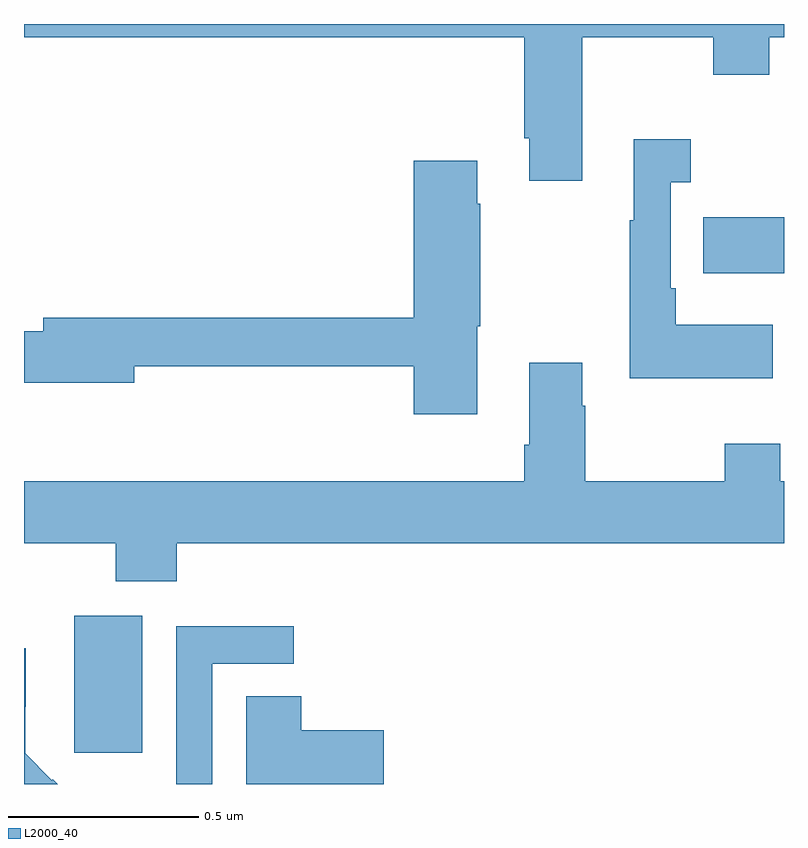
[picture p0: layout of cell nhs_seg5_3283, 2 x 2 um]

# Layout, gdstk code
import gdstk
lib = gdstk.Library(unit=1e-6, precision=1e-09)
def R(c, l, rs):  # rectangles x0, y0, x1, y1
    for r in rs: c.add(gdstk.rectangle(r[:2], r[2:], *l))
def P(c, l, *ps):  # polygons
    for p in ps: c.add(gdstk.Polygon(p, *l))
L2000_40 = (2000, 40)

nhs_seg5_3283 = lib.new_cell('nhs_seg5_3283')
R(nhs_seg5_3283, L2000_40, [(155.132,850.881,155.311,851.242), (156.787,852.143,157,852.291)])
P(nhs_seg5_3283, L2000_40, [(156.469,852.764),(156.814,852.764),(156.814,852.665),(156.961,852.665),(156.961,852.764),(157,852.764),(157,852.799),(155,852.799),(155,852.764),(156.317,852.764),(156.317,852.499),(156.329,852.499),(156.329,852.387),(156.469,852.387)],
  [(156.971,852.007),(156.715,852.007),(156.715,852.103),(156.702,852.103),(156.702,852.383),(156.754,852.383),(156.754,852.496),(156.605,852.496),(156.605,852.283),(156.594,852.283),(156.594,851.867),(156.971,851.867)],
  [(156.193,852.003),(156.201,852.003),(156.201,852.326),(156.193,852.326),(156.193,852.439),(156.026,852.439),(156.026,852.026),(155.051,852.026),(155.051,851.99),(155,851.99),(155,851.855),(155.29,851.855),(155.29,851.898),(156.026,851.898),(156.026,851.772),(156.193,851.772)],
  [(155.402,851.432),(157,851.432),(157,851.596),(156.99,851.596),(156.99,851.695),(156.844,851.695),(156.844,851.596),(156.477,851.596),(156.477,851.795),(156.469,851.795),(156.469,851.908),(156.329,851.908),(156.329,851.692),(156.317,851.692),(156.317,851.596),(155,851.596),(155,851.432),(155.242,851.432),(155.242,851.333),(155.402,851.333)],
  [(155.496,851.115),(155.71,851.115),(155.71,851.214),(155.4,851.214),(155.4,850.799),(155.496,850.799)],
  [(155.076,850.812),(155.073,850.809),(155.003,850.88),(155.003,851.002),(155.004,851.002),(155.004,851.156),(155,851.156),(155,850.799),(155.089,850.799)],
  [(155.947,850.94),(155.729,850.94),(155.729,851.03),(155.585,851.03),(155.585,850.799),(155.947,850.799)])

lib.write_gds('nhs_seg5_3283.gds')
